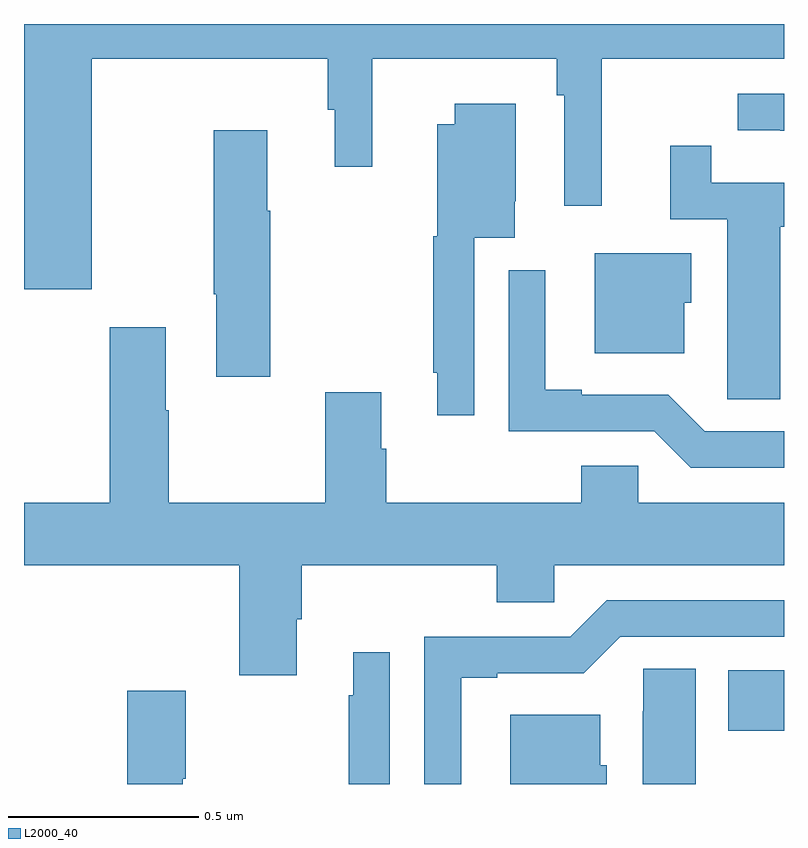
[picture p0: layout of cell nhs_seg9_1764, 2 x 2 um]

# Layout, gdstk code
import gdstk
lib = gdstk.Library(unit=1e-6, precision=1e-09)
def R(c, l, rs):  # rectangles x0, y0, x1, y1
    for r in rs: c.add(gdstk.rectangle(r[:2], r[2:], *l))
def P(c, l, *ps):  # polygons
    for p in ps: c.add(gdstk.Polygon(p, *l))
L2000_40 = (2000, 40)

nhs_seg9_1764 = lib.new_cell('nhs_seg9_1764')
R(nhs_seg9_1764, L2000_40, [(133.853,1206.64,134,1206.799)])
P(nhs_seg9_1764, L2000_40, [(132.178,1208.408),(132.799,1208.408),(132.799,1208.274),(132.818,1208.274),(132.818,1208.124),(132.917,1208.124),(132.917,1208.408),(133.402,1208.408),(133.402,1208.312),(133.422,1208.312),(133.422,1208.022),(133.52,1208.022),(133.52,1208.408),(134,1208.408),(134,1208.5),(132,1208.5),(132,1207.802),(132.178,1207.802)],
  [(134,1208.316),(133.878,1208.316),(133.878,1208.22),(133.99,1208.22),(133.99,1208.219),(134,1208.219)],
  [(133.185,1207.937),(133.291,1207.937),(133.291,1208.034),(133.294,1208.034),(133.294,1208.29),(133.133,1208.29),(133.133,1208.236),(133.088,1208.236),(133.088,1207.941),(133.077,1207.941),(133.077,1207.582),(133.088,1207.582),(133.088,1207.47),(133.185,1207.47)],
  [(132.648,1208.008),(132.64,1208.008),(132.64,1208.221),(132.499,1208.221),(132.499,1207.789),(132.506,1207.789),(132.506,1207.572),(132.648,1207.572)],
  [(133.99,1207.966),(134,1207.966),(134,1208.082),(133.808,1208.082),(133.808,1208.179),(133.7,1208.179),(133.7,1207.986),(133.85,1207.986),(133.85,1207.624),(133.851,1207.624),(133.851,1207.513),(133.99,1207.513)],
  [(133.738,1207.767),(133.756,1207.767),(133.756,1207.897),(133.502,1207.897),(133.502,1207.634),(133.738,1207.634)],
  [(134,1207.428),(133.791,1207.428),(133.695,1207.524),(133.468,1207.524),(133.468,1207.537),(133.372,1207.537),(133.372,1207.852),(133.275,1207.852),(133.275,1207.428),(133.659,1207.428),(133.755,1207.332),(134,1207.332)],
  [(132.718,1206.934),(132.731,1206.934),(132.731,1207.076),(133.244,1207.076),(133.244,1206.978),(133.395,1206.978),(133.395,1207.076),(134,1207.076),(134,1207.24),(133.617,1207.24),(133.617,1207.338),(133.466,1207.338),(133.466,1207.24),(132.953,1207.24),(132.953,1207.382),(132.94,1207.382),(132.94,1207.531),(132.793,1207.531),(132.793,1207.24),(132.381,1207.24),(132.381,1207.484),(132.373,1207.484),(132.373,1207.702),(132.226,1207.702),(132.226,1207.24),(132,1207.24),(132,1207.076),(132.566,1207.076),(132.566,1206.786),(132.718,1206.786)],
  [(133.15,1206.78),(133.246,1206.78),(133.246,1206.792),(133.473,1206.792),(133.569,1206.888),(134,1206.888),(134,1206.984),(133.533,1206.984),(133.437,1206.888),(133.053,1206.888),(133.053,1206.5),(133.15,1206.5)],
  [(132.963,1206.847),(132.866,1206.847),(132.866,1206.734),(132.855,1206.734),(132.855,1206.5),(132.963,1206.5)],
  [(133.768,1206.803),(133.629,1206.803),(133.629,1206.692),(133.628,1206.692),(133.628,1206.5),(133.768,1206.5)],
  [(132.418,1206.514),(132.426,1206.514),(132.426,1206.745),(132.272,1206.745),(132.272,1206.5),(132.418,1206.5)],
  [(133.534,1206.549),(133.516,1206.549),(133.516,1206.682),(133.28,1206.682),(133.28,1206.5),(133.534,1206.5)])

lib.write_gds('nhs_seg9_1764.gds')
